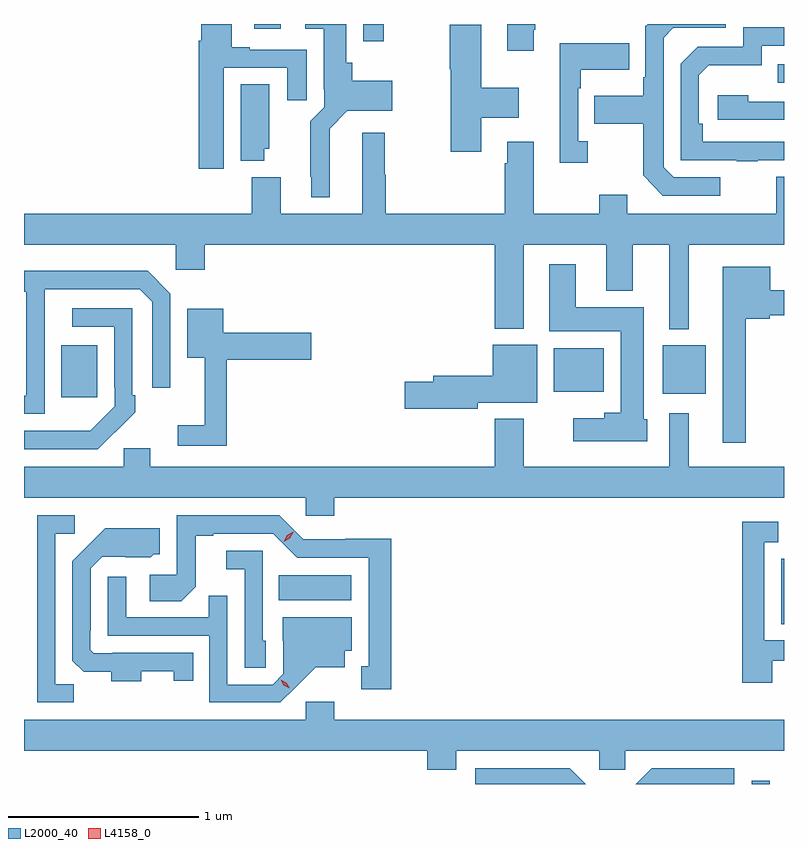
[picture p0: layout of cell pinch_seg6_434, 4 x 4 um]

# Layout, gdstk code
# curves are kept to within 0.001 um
import gdstk
lib = gdstk.Library(unit=1e-6, precision=1e-09)
def R(c, l, rs):  # rectangles x0, y0, x1, y1
    for r in rs: c.add(gdstk.rectangle(r[:2], r[2:], *l))
def P(c, l, *ps):  # polygons
    for p in ps: c.add(gdstk.Polygon(p, *l))
L2000_40 = (2000, 40)
L4158_0 = (4158, 0)

pinch_seg6_434 = lib.new_cell('pinch_seg6_434')
R(pinch_seg6_434, L2000_40, [(757.459,921.854,757.555,921.871), (757.616,922.696,757.63,923.04), (754.972,922.82,755.353,922.954), (753.827,923.889,754.015,924.163), (756.992,923.909,757.219,924.163), (756.419,923.918,756.682,924.148), (757.597,925.545,757.63,925.641), (755.415,925.764,755.524,925.854), (754.841,925.83,754.981,925.854)])
P(pinch_seg6_434, L2000_40, [(755.239,925.304),(755.331,925.397),(755.569,925.397),(755.569,925.555),(755.357,925.555),(755.357,925.65),(755.326,925.65),(755.326,925.854),(755.109,925.854),(755.109,925.829),(755.207,925.829),(755.207,925.51),(755.211,925.51),(755.211,925.416),(755.137,925.342),(755.137,925.051),(755.141,925.051),(755.141,924.941),(755.239,924.941)],
  [(754.681,925.623),(755.015,925.623),(755.015,925.452),(755.119,925.452),(755.119,925.719),(754.819,925.719),(754.819,925.732),(754.723,925.732),(754.723,925.854),(754.562,925.854),(754.562,925.766),(754.55,925.766),(754.55,925.092),(754.681,925.092)],
  [(757.294,925.047),(757.05,925.047),(756.996,925.101),(756.996,925.782),(757.047,925.833),(757.324,925.833),(757.324,925.854),(756.912,925.854),(756.9,925.842),(756.9,925.573),(756.888,925.573),(756.888,925.477),(756.631,925.477),(756.631,925.33),(756.888,925.33),(756.888,925.057),(756.993,924.951),(757.294,924.951)],
  [(756.313,925.825),(756.321,925.825),(756.321,925.854),(756.173,925.854),(756.173,925.713),(756.313,925.713)],
  [(756.037,925.361),(756.235,925.361),(756.235,925.519),(756.037,925.519),(756.037,925.849),(755.87,925.849),(755.87,925.615),(755.875,925.615),(755.875,925.182),(756.037,925.182)],
  [(757.493,925.137),(757.63,925.137),(757.63,925.233),(757.202,925.233),(757.202,925.33),(757.182,925.33),(757.182,925.584),(757.235,925.637),(757.512,925.637),(757.512,925.74),(757.63,925.74),(757.63,925.836),(757.416,925.836),(757.416,925.734),(757.176,925.734),(757.086,925.644),(757.086,925.137),(757.381,925.137),(757.381,925.132),(757.493,925.132)],
  [(756.598,925.238),(756.546,925.238),(756.546,925.517),(756.559,925.517),(756.559,925.613),(756.815,925.613),(756.815,925.753),(756.449,925.753),(756.449,925.125),(756.598,925.125)],
  [(754.894,925.197),(754.921,925.197),(754.921,925.538),(754.772,925.538),(754.772,925.133),(754.894,925.133)],
  [(757.63,925.446),(757.442,925.446),(757.442,925.48),(757.281,925.48),(757.281,925.35),(757.63,925.35)],
  [(757.129,924.692),(757.63,924.692),(757.63,925.051),(757.589,925.051),(757.589,924.856),(756.805,924.856),(756.805,924.955),(756.658,924.955),(756.658,924.856),(756.313,924.856),(756.313,925.234),(756.173,925.234),(756.173,925.121),(756.161,925.121),(756.161,924.856),(755.534,924.856),(755.534,925.061),(755.529,925.061),(755.529,925.282),(755.411,925.282),(755.411,924.856),(754.981,924.856),(754.981,925.048),(754.829,925.048),(754.829,924.856),(753.63,924.856),(753.63,924.692),(754.428,924.692),(754.428,924.561),(754.58,924.561),(754.58,924.692),(756.107,924.692),(756.107,924.251),(756.259,924.251),(756.259,924.692),(756.695,924.692),(756.695,924.449),(756.835,924.449),(756.835,924.692),(757.025,924.692),(757.025,924.248),(757.129,924.248)],
  [(756.91,923.775),(756.892,923.775),(756.892,924.364),(756.535,924.364),(756.535,924.589),(756.395,924.589),(756.395,924.236),(756.77,924.236),(756.77,923.809),(756.683,923.809),(756.683,923.779),(756.522,923.779),(756.522,923.657),(756.91,923.657)],
  [(757.429,924.302),(757.554,924.302),(757.554,924.32),(757.63,924.32),(757.63,924.454),(757.558,924.454),(757.558,924.577),(757.307,924.577),(757.307,923.649),(757.429,923.649)],
  [(753.738,924.259),(753.739,924.459),(754.239,924.459),(754.305,924.393),(754.305,923.94),(754.401,923.94),(754.401,924.435),(754.28,924.556),(753.63,924.556),(753.63,924.446),(753.642,924.446),(753.642,923.898),(753.63,923.898),(753.63,923.802),(753.738,923.802)],
  [(754.109,923.707),(754.11,923.706),(754.215,923.811),(754.215,923.899),(754.2,923.899),(754.2,924.357),(753.885,924.357),(753.885,924.261),(754.104,924.261),(754.104,923.941),(754.107,923.941),(754.107,923.841),(753.979,923.713),(753.63,923.712),(753.63,923.616),(754.018,923.616)],
  [(754.697,924.086),(755.143,924.086),(755.143,924.228),(754.678,924.228),(754.678,924.355),(754.49,924.355),(754.49,924.098),(754.58,924.098),(754.58,923.743),(754.44,923.743),(754.44,923.634),(754.697,923.634)],
  [(756.018,923.861),(756.331,923.861),(756.331,924.166),(756.098,924.166),(756.098,924.002),(755.783,924.002),(755.783,923.972),(755.634,923.972),(755.634,923.83),(756.018,923.83)],
  [(755.264,923.36),(757.63,923.36),(757.63,923.524),(757.129,923.524),(757.129,923.806),(757.025,923.806),(757.025,923.524),(756.259,923.524),(756.259,923.776),(756.107,923.776),(756.107,923.524),(754.294,923.524),(754.294,923.622),(754.155,923.622),(754.155,923.524),(753.63,923.524),(753.63,923.36),(755.112,923.36),(755.112,923.267),(755.264,923.267)],
  [(755.563,923.144),(755.322,923.144),(755.322,923.142),(755.1,923.142),(754.974,923.268),(754.434,923.268),(754.434,922.956),(754.293,922.956),(754.293,922.816),(754.457,922.816),(754.533,922.892),(754.533,923.16),(754.627,923.16),(754.627,923.172),(754.941,923.172),(755.067,923.046),(755.444,923.046),(755.444,922.473),(755.405,922.473),(755.405,922.353),(755.563,922.353)],
  [(753.891,922.379),(753.795,922.379),(753.795,923.172),(753.898,923.172),(753.898,923.268),(753.699,923.268),(753.699,922.284),(753.891,922.284)],
  [(757.567,922.503),(757.63,922.503),(757.63,922.611),(757.527,922.611),(757.527,923.127),(757.6,923.127),(757.6,923.233),(757.411,923.233),(757.411,922.386),(757.567,922.386)],
  [(754.246,922.447),(754.419,922.447),(754.419,922.398),(754.52,922.398),(754.52,922.545),(754.096,922.545),(754.096,922.542),(753.996,922.542),(753.978,922.56),(753.978,922.66),(753.981,922.66),(753.981,922.989),(754.041,923.049),(754.298,923.048),(754.314,923.064),(754.345,923.064),(754.345,923.2),(754.057,923.2),(753.885,923.026),(753.885,922.504),(753.944,922.445),(754.088,922.445),(754.088,922.394),(754.246,922.394)],
  [(754.902,922.608),(754.887,922.608),(754.887,923.082),(754.695,923.082),(754.695,922.985),(754.791,922.985),(754.791,922.465),(754.902,922.465)],
  [(755.062,922.367),(755.165,922.469),(755.317,922.469),(755.317,922.556),(755.356,922.556),(755.356,922.732),(754.991,922.732),(754.991,922.608),(754.995,922.608),(754.995,922.434),(754.938,922.377),(754.701,922.377),(754.701,922.844),(754.603,922.844),(754.603,922.731),(754.167,922.731),(754.167,922.945),(754.071,922.945),(754.071,922.635),(754.605,922.635),(754.605,922.284),(754.978,922.284)],
  [(755.905,922.028),(756.657,922.028),(756.657,921.93),(756.795,921.93),(756.795,922.028),(757.63,922.028),(757.63,922.192),(755.264,922.192),(755.264,922.288),(755.112,922.288),(755.112,922.192),(753.63,922.192),(753.63,922.028),(755.753,922.028),(755.753,921.929),(755.905,921.929)],
  [(756.503,921.937),(756.006,921.937),(756.006,921.854),(756.586,921.854)],
  [(757.368,921.936),(756.933,921.936),(756.851,921.854),(757.368,921.854)])
P(pinch_seg6_434, L4158_0, [(754.997,923.129),(754.997,923.13),(755.015,923.162),(755.047,923.181),(755.047,923.181),(755.047,923.18),(755.029,923.148),(754.998,923.129)],
  [(755.028,922.358),(754.998,922.373),(754.98,922.403),(754.98,922.403),(754.98,922.403),(755.011,922.388),(755.028,922.358),(755.028,922.358)])

lib.write_gds('pinch_seg6_434.gds')
